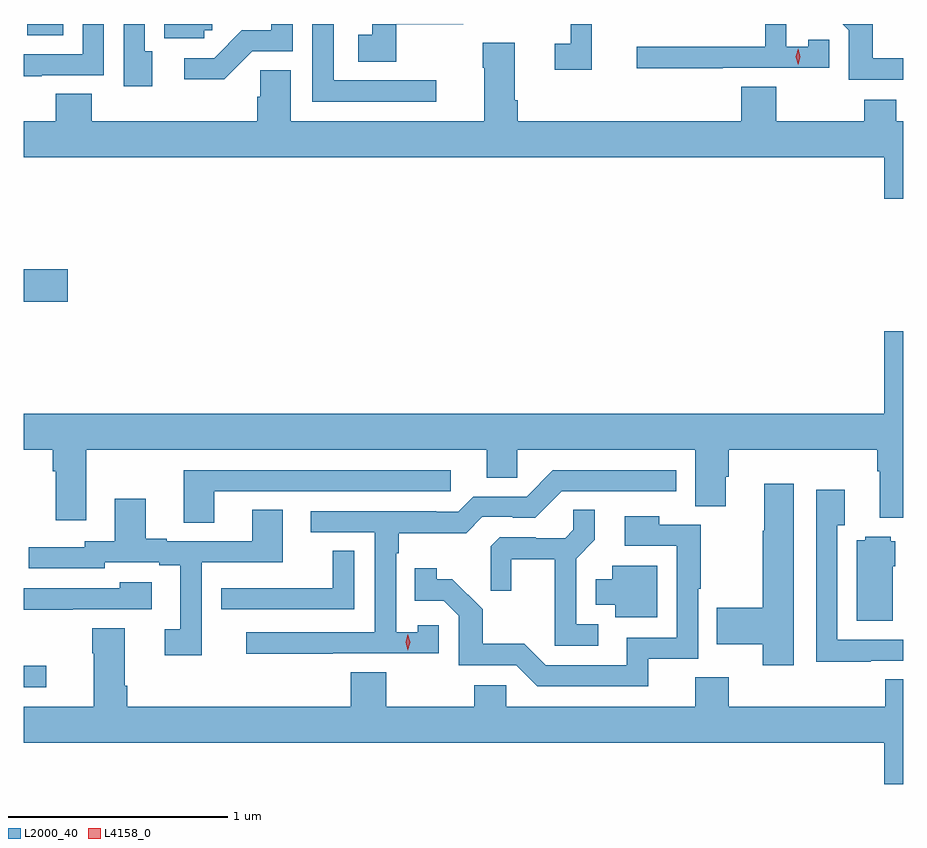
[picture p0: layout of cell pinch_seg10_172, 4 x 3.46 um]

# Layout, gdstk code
import gdstk
lib = gdstk.Library(unit=1e-6, precision=1e-09)
def R(c, l, rs):  # rectangles x0, y0, x1, y1
    for r in rs: c.add(gdstk.rectangle(r[:2], r[2:], *l))
def P(c, l, *ps):  # polygons
    for p in ps: c.add(gdstk.Polygon(p, *l))
L2000_40 = (2000, 40)
L4158_0 = (4158, 0)

pinch_seg10_172 = lib.new_cell('pinch_seg10_172')
R(pinch_seg10_172, L2000_40, [(688.565,1267.269,688.666,1267.365), (688.565,1269.023,688.765,1269.17), (688.58,1270.234,688.744,1270.286)])
P(pinch_seg10_172, L2000_40, [(690.259,1270.285),(690.563,1270.285),(690.563,1270.286),(690.15,1270.286),(690.15,1270.236),(690.087,1270.236),(690.087,1270.114),(690.259,1270.114)],
  [(692.565,1270.131),(692.428,1270.131),(692.428,1270.286),(692.29,1270.286),(692.319,1270.257),(692.319,1270.032),(692.565,1270.032)],
  [(689.385,1270.257),(689.421,1270.257),(689.421,1270.286),(689.204,1270.286),(689.204,1270.221),(689.385,1270.221)],
  [(691.149,1270.286),(691.052,1270.286),(691.052,1270.197),(690.981,1270.197),(690.981,1270.077),(691.149,1270.077)],
  [(691.745,1270.086),(692.229,1270.086),(692.229,1270.215),(692.133,1270.215),(692.133,1270.183),(692.034,1270.183),(692.034,1270.286),(691.938,1270.286),(691.938,1270.182),(691.353,1270.182),(691.353,1270.084),(691.745,1270.084)],
  [(690.442,1270.029),(689.974,1270.029),(689.974,1270.286),(689.877,1270.286),(689.877,1269.933),(690.442,1269.933)],
  [(689.149,1270.162),(689.115,1270.162),(689.115,1270.286),(689.019,1270.286),(689.019,1270.002),(689.149,1270.002)],
  [(688.645,1270.053),(688.929,1270.053),(688.929,1270.286),(688.833,1270.286),(688.833,1270.149),(688.565,1270.149),(688.565,1270.049),(688.645,1270.049)],
  [(689.604,1270.161),(689.787,1270.161),(689.787,1270.286),(689.69,1270.286),(689.69,1270.258),(689.557,1270.258),(689.43,1270.131),(689.295,1270.131),(689.295,1270.034),(689.476,1270.034)],
  [(692.565,1269.844),(692.535,1269.844),(692.535,1269.942),(692.389,1269.942),(692.389,1269.844),(691.989,1269.844),(691.989,1270.001),(691.829,1270.001),(691.829,1269.844),(690.812,1269.844),(690.812,1269.94),(690.799,1269.94),(690.799,1270.201),(690.652,1270.201),(690.652,1270.088),(690.659,1270.088),(690.659,1269.844),(689.779,1269.844),(689.779,1270.076),(689.641,1270.076),(689.641,1269.954),(689.627,1269.954),(689.627,1269.844),(688.874,1269.844),(688.874,1269.968),(688.709,1269.968),(688.709,1269.844),(688.565,1269.844),(688.565,1269.68),(692.48,1269.68),(692.48,1269.492),(692.565,1269.492)],
  [(688.849,1268.348),(690.671,1268.348),(690.671,1268.221),(690.81,1268.221),(690.81,1268.348),(691.619,1268.348),(691.619,1268.092),(691.759,1268.092),(691.759,1268.226),(691.772,1268.226),(691.772,1268.348),(692.447,1268.348),(692.447,1268.252),(692.459,1268.252),(692.459,1268.039),(692.565,1268.039),(692.565,1268.887),(692.48,1268.887),(692.48,1268.512),(688.565,1268.512),(688.565,1268.348),(688.697,1268.348),(688.697,1268.252),(688.709,1268.252),(688.709,1268.028),(688.849,1268.028)],
  [(689.969,1267.422),(690.453,1267.422),(690.453,1267.551),(690.357,1267.551),(690.357,1267.519),(690.258,1267.519),(690.258,1267.877),(690.271,1267.877),(690.271,1267.97),(690.578,1267.97),(690.651,1268.043),(690.79,1268.043),(690.79,1268.04),(690.891,1268.04),(691.011,1268.16),(691.534,1268.16),(691.534,1268.256),(690.972,1268.256),(690.852,1268.136),(690.609,1268.136),(690.54,1268.067),(690.44,1268.067),(690.44,1268.07),(689.871,1268.07),(689.871,1267.974),(690.162,1267.974),(690.162,1267.518),(689.577,1267.518),(689.577,1267.42),(689.969,1267.42)],
  [(689.431,1268.16),(690.508,1268.16),(690.508,1268.256),(689.291,1268.256),(689.291,1268.017),(689.431,1268.017)],
  [(692.068,1268.194),(691.934,1268.194),(691.934,1267.981),(691.927,1267.981),(691.927,1267.629),(691.717,1267.629),(691.717,1267.463),(691.927,1267.463),(691.927,1267.368),(692.068,1267.368)],
  [(692.419,1267.389),(692.565,1267.389),(692.565,1267.485),(692.265,1267.485),(692.265,1268.006),(692.299,1268.006),(692.299,1268.167),(692.169,1268.167),(692.169,1267.385),(692.419,1267.385)],
  [(689.373,1267.836),(689.743,1267.836),(689.743,1268.075),(689.603,1268.075),(689.603,1267.932),(689.215,1267.932),(689.215,1267.945),(689.119,1267.945),(689.119,1268.125),(688.979,1268.125),(688.979,1267.932),(688.842,1267.932),(688.842,1267.905),(688.587,1267.905),(688.587,1267.809),(688.932,1267.809),(688.932,1267.836),(689.18,1267.836),(689.18,1267.824),(689.276,1267.824),(689.276,1267.533),(689.205,1267.533),(689.205,1267.413),(689.373,1267.413)],
  [(691.177,1267.554),(691.077,1267.554),(691.077,1267.853),(691.163,1267.939),(691.163,1268.075),(691.065,1268.075),(691.065,1267.984),(691.028,1267.947),(690.894,1267.947),(690.894,1267.95),(690.729,1267.95),(690.688,1267.909),(690.688,1267.707),(690.782,1267.707),(690.782,1267.85),(690.98,1267.85),(690.98,1267.458),(691.177,1267.458)],
  [(691.406,1267.398),(691.632,1267.398),(691.632,1267.717),(691.645,1267.717),(691.645,1268.007),(691.455,1268.007),(691.455,1268.047),(691.299,1268.047),(691.299,1267.911),(691.536,1267.911),(691.536,1267.494),(691.307,1267.494),(691.307,1267.368),(690.939,1267.368),(690.841,1267.467),(690.652,1267.467),(690.652,1267.622),(690.514,1267.76),(690.444,1267.76),(690.444,1267.81),(690.343,1267.81),(690.343,1267.662),(690.474,1267.662),(690.543,1267.593),(690.543,1267.368),(690.804,1267.368),(690.9,1267.272),(691.406,1267.272)],
  [(692.518,1267.818),(692.53,1267.818),(692.53,1267.932),(692.508,1267.932),(692.508,1267.954),(692.394,1267.954),(692.394,1267.936),(692.354,1267.936),(692.354,1267.57),(692.518,1267.57)],
  [(690.069,1267.889),(689.971,1267.889),(689.971,1267.719),(689.575,1267.719),(689.575,1267.718),(689.463,1267.718),(689.463,1267.623),(690.069,1267.623)],
  [(691.447,1267.822),(691.241,1267.822),(691.241,1267.759),(691.166,1267.759),(691.166,1267.643),(691.256,1267.643),(691.256,1267.586),(691.447,1267.586)],
  [(688.787,1267.623),(689.146,1267.623),(689.146,1267.747),(689.001,1267.747),(689.001,1267.719),(688.565,1267.719),(688.565,1267.621),(688.787,1267.621)],
  [(692.565,1267.304),(692.483,1267.304),(692.483,1267.18),(691.772,1267.18),(691.772,1267.313),(691.619,1267.313),(691.619,1267.18),(690.759,1267.18),(690.759,1267.278),(690.613,1267.278),(690.613,1267.18),(690.213,1267.18),(690.213,1267.337),(690.053,1267.337),(690.053,1267.18),(689.036,1267.18),(689.036,1267.276),(689.023,1267.276),(689.023,1267.537),(688.876,1267.537),(688.876,1267.424),(688.883,1267.424),(688.883,1267.18),(688.565,1267.18),(688.565,1267.016),(692.48,1267.016),(692.48,1266.828),(692.565,1266.828)])
P(pinch_seg10_172, L4158_0, [(692.087,1270.101),(692.087,1270.101),(692.077,1270.137),(692.087,1270.173),(692.088,1270.173),(692.088,1270.173),(692.097,1270.137),(692.087,1270.101)],
  [(690.312,1267.437),(690.312,1267.437),(690.302,1267.473),(690.312,1267.509),(690.312,1267.509),(690.312,1267.509),(690.322,1267.473),(690.312,1267.437)])

lib.write_gds('pinch_seg10_172.gds')
